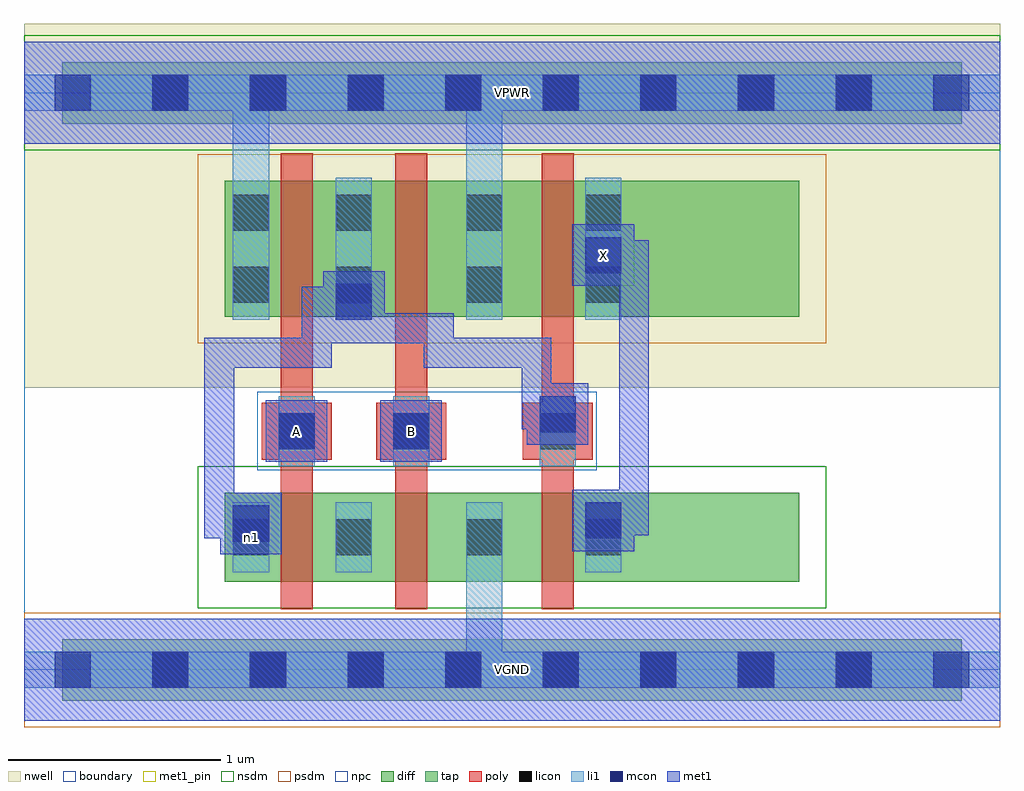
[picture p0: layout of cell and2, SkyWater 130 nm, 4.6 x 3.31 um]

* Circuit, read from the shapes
.subckt and2 A B VGND VPWR X n1
XM1 n2 A n1 VGND sky130_fd_pr__nfet_01v8 w=0.42 l=0.15
XM2 VGND B n2 VGND sky130_fd_pr__nfet_01v8 w=0.42 l=0.15
XM3 X n1 VGND VGND sky130_fd_pr__nfet_01v8 w=0.42 l=0.15
XM4 n1 A VPWR VPWR sky130_fd_pr__pfet_01v8 w=0.64 l=0.15
XM5 VPWR B n1 VPWR sky130_fd_pr__pfet_01v8 w=0.64 l=0.15
XM6 X n1 VPWR VPWR sky130_fd_pr__pfet_01v8 w=0.64 l=0.15
.ends

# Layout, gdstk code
import gdstk
lib = gdstk.Library(unit=1e-6, precision=1e-09)
def R(c, l, rs):  # rectangles x0, y0, x1, y1
    for r in rs: c.add(gdstk.rectangle(r[:2], r[2:], *l))
def A(c, l, x, y, w, h, nx, ny, dx, dy):  # array of equal rectangles
    R(c, l, [(x+i*dx, y+j*dy, x+i*dx+w, y+j*dy+h) for i in range(nx) for j in range(ny)])
nwell = (64, 20)
diff = (65, 20)
tap = (65, 44)
poly = (66, 20)
licon = (66, 44)
li1 = (67, 20)
mcon = (67, 44)
met1_pin = (68, 16)
met1 = (68, 20)
nsdm = (93, 44)
psdm = (94, 20)
npc = (95, 20)
boundary = (235, 4)

and2 = lib.new_cell('and2')
R(and2, nwell, [(0,1.33,4.6,3.045)])
R(and2, diff, [(0.945,0.415,3.655,0.835), (0.945,1.665,3.655,2.305)])
R(and2, tap, [(0.18,-0.145,4.42,0.145), (0.18,2.575,4.42,2.865)])
R(and2, poly, [(1.21,0.285,1.36,2.435), (1.75,0.285,1.9,2.435), (2.44,0.285,2.59,2.435), (1.12,0.99,1.45,1.26), (1.66,0.99,1.99,1.26), (2.35,0.99,2.68,1.26)])
A(and2, licon, 0.605, -0.085, 0.17, 0.17, 8, 2, 0.46, 2.72)
R(and2, licon, [(0.985,0.54,1.155,0.71), (1.47,0.54,1.64,0.71), (2.085,0.54,2.255,0.71), (2.645,0.54,2.815,0.71), (1.2,1.04,1.37,1.21), (1.74,1.04,1.91,1.21), (2.43,1.04,2.6,1.21), (0.985,1.73,1.155,1.9), (1.47,1.73,1.64,1.9), (2.085,1.73,2.255,1.9), (2.645,1.73,2.815,1.9), (0.985,2.07,1.155,2.24), (1.47,2.07,1.64,2.24), (2.085,2.07,2.255,2.24), (2.645,2.07,2.815,2.24)])
R(and2, li1, [(0,-0.085,4.6,0.085), (2.085,-0.085,2.255,0.79), (0.985,0.46,1.155,0.79), (1.47,0.46,1.64,0.79), (2.085,0.46,2.255,0.79), (2.645,0.46,2.815,0.79), (1.2,0.96,1.37,1.29), (1.74,0.96,1.91,1.29), (2.43,0.96,2.6,1.29), (0.985,1.65,1.155,2.32), (0.985,1.65,1.155,2.805), (1.47,1.65,1.64,2.32), (2.085,1.65,2.255,2.32), (2.085,1.65,2.255,2.805), (2.645,1.65,2.815,2.32), (0,2.635,4.6,2.805)])
A(and2, mcon, 0.145, -0.085, 0.17, 0.17, 10, 2, 0.46, 2.72)
R(and2, mcon, [(0.985,0.605,1.155,0.775), (2.645,0.62,2.815,0.79), (1.2,1.04,1.37,1.21), (1.74,1.04,1.91,1.21), (2.43,1.12,2.6,1.29), (1.47,1.65,1.64,1.82), (2.645,1.87,2.815,2.04)])
R(and2, met1_pin, [(0,-0.24,4.6,0.24), (1.14,0.98,1.43,1.27), (1.68,0.98,1.97,1.27), (2.585,1.81,2.875,2.1), (0,2.48,4.6,2.96)])
R(and2, met1, [(0,-0.24,4.6,0.24), (0.925,0.545,1.215,0.835), (2.585,0.56,2.875,0.85), (0.85,0.62,1.14,0.76), (0.85,0.62,0.99,1.565), (2.66,0.635,2.945,0.775), (2.805,0.635,2.945,0.875), (2.805,0.735,2.945,2.025), (1.14,0.98,1.43,1.27), (1.68,0.98,1.97,1.27), (2.37,1.06,2.66,1.35), (2.345,1.135,2.585,1.275), (2.345,1.135,2.485,1.45), (2.345,1.31,2.485,1.565), (0.85,1.425,1.45,1.565), (1.31,1.425,1.45,1.68), (1.885,1.425,2.485,1.565), (1.885,1.425,2.025,1.68), (1.31,1.54,1.45,1.805), (1.31,1.54,2.025,1.68), (1.41,1.59,1.7,1.88), (1.31,1.665,1.625,1.805), (2.585,1.81,2.875,2.1), (2.66,1.885,2.945,2.025), (0,2.48,4.6,2.96)])
R(and2, nsdm, [(0.82,0.29,3.78,0.96), (0,2.45,4.6,2.99)])
R(and2, psdm, [(0,-0.27,4.6,0.27), (0.82,1.54,3.78,2.43)])
R(and2, npc, [(1.1,0.94,2.7,1.31)])
R(and2, boundary, [(0,0,4.6,2.72)])
and2.add(gdstk.Label('n1', (1.07,0.625), layer=67, texttype=5))
and2.add(gdstk.Label('A', (1.285,1.125), layer=68, texttype=5))
and2.add(gdstk.Label('B', (1.825,1.125), layer=68, texttype=5))
and2.add(gdstk.Label('X', (2.73,1.955), layer=68, texttype=5))
and2.add(gdstk.Label('VPWR', (2.3,2.72), layer=68, texttype=5))
and2.add(gdstk.Label('VGND', (2.3,0), layer=68, texttype=5))
and2.add(gdstk.Label('A', (1.285,1.125), layer=68, texttype=16))
and2.add(gdstk.Label('B', (1.825,1.125), layer=68, texttype=16))
and2.add(gdstk.Label('X', (2.73,1.955), layer=68, texttype=16))
and2.add(gdstk.Label('VPWR', (2.3,2.72), layer=68, texttype=16))
and2.add(gdstk.Label('VGND', (2.3,0), layer=68, texttype=16))

lib.write_gds('and2.gds')
